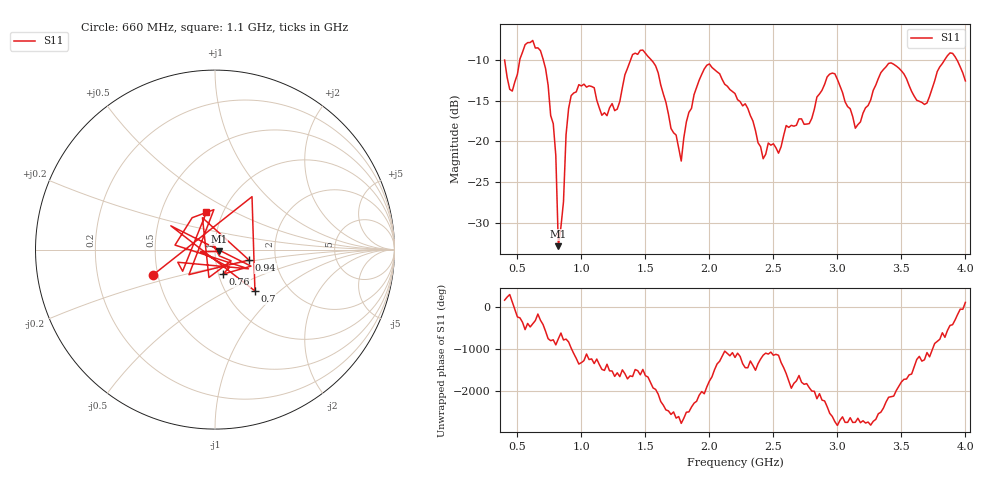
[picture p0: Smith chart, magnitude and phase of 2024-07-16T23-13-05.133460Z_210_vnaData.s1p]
!Created with skrf (http://scikit-rf.org).
# Hz S RI R 50.0
!freq ReS11 ImS11
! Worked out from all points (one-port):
!   181 points, 400 MHz to 4 GHz, reference 50 ohm
!   lowest |S11| = -32.8 dB at 820 MHz (marker M1), VSWR 1.05, Z = 52.1 - j1.07 ohm
!   |S11| at or under -10 dB: start of sweep to 518.9 MHz; 701.9 MHz to 1.384 GHz (682.6 MHz wide, 65.4 % of centre); 1.545 GHz to 3.838 GHz (2.294 GHz wide, 85.2 % of centre) (the widest 3 of 4)
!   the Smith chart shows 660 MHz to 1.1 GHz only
!   S11 on the Smith chart (normalised r, x): 660 MHz: 0.47, -0.15; 700 MHz: 1.36, -0.70; 760 MHz: 1.05, -0.29; 940 MHz: 1.45, -0.18; 1.1 GHz: 0.84, +0.36
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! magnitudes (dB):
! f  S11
! 400 MHz  -10.0
! 460 MHz  -13.8
! 560 MHz  -8.2
! 660 MHz  -8.5
! 700 MHz  -9.9
! 760 MHz  -16.8
! 800 MHz  -21.7
! 820 MHz  -32.8
! 860 MHz  -27.4
! 880 MHz  -19.2
! 940 MHz  -14.1
! 1.1 GHz  -13.4
! 1.16 GHz  -16.8
! 1.3 GHz  -15.1
! 1.48 GHz  -8.8
! 1.76 GHz  -20.8
! 1.98 GHz  -10.7
! 2.2 GHz  -14.1
! 2.42 GHz  -22.1
! 2.66 GHz  -18.1
! 2.96 GHz  -11.6
! 3.1 GHz  -16.0
! 3.14 GHz  -18.4
! 3.4 GHz  -10.4
! 3.56 GHz  -13.1
! 3.7 GHz  -15.3
! 3.88 GHz  -9.2
! 4 GHz  -12.6
